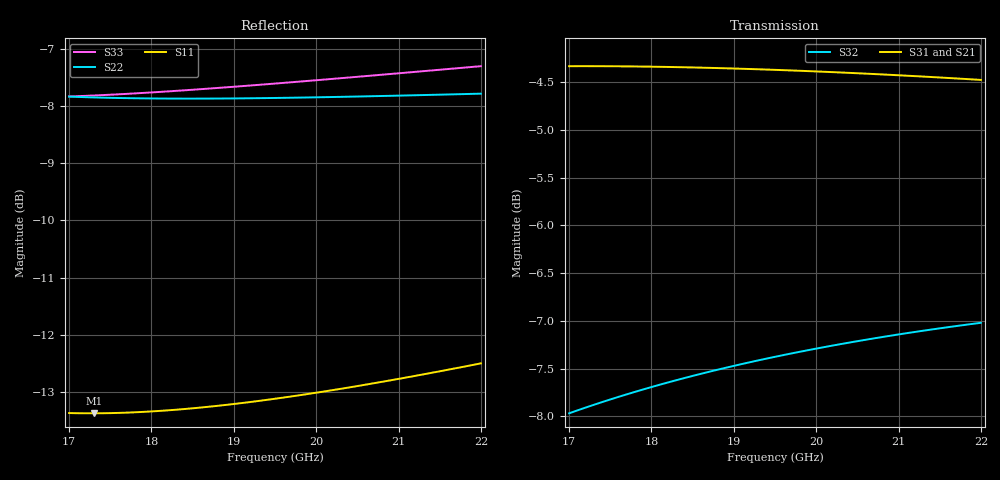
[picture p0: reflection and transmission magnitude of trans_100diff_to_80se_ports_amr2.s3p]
#  GHZ S DB R 50.0
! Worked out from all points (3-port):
!   51 points, 17 GHz to 22 GHz, reference 50 ohm
!   strongest paths, dB at 17 GHz, 18.2 GHz, 19.5 GHz, 20.8 GHz, 22 GHz:
!     S31: -4.3, -4.3, -4.4, -4.4, -4.5
!     S21: -4.5, -4.4, -4.4, -4.4, -4.4
!     S32: -8.0, -7.6, -7.4, -7.2, -7.0
!   lowest |S11| = -13.4 dB at 17.3 GHz (marker M1), VSWR 1.55, Z = 76.2 + j7.16 ohm
!   |S11| at or under -10 dB: start of sweep to end of sweep
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17  -13.36 15.9  -4.48 -171.7  -4.33 7.7
    -4.48 -171.7  -7.84 95.9  -7.97 73.8
    -4.33 7.7  -7.97 73.8  -7.84 92.8
17.3  -13.37 12.1  -4.46 -173.9  -4.33 5.6
      -4.46 -173.9  -7.85 93.0  -7.88 71.7
      -4.33 5.6  -7.88 71.7  -7.82 90.0
17.8  -13.35 6.0  -4.44 -177.5  -4.33 2.2
      -4.44 -177.5  -7.87 88.3  -7.74 68.3
      -4.33 2.2  -7.74 68.3  -7.78 85.5
18.4  -13.29 -0.9  -4.42 178.4  -4.34 -1.7
      -4.42 178.4  -7.87 83.1  -7.60 64.4
      -4.34 -1.7  -7.60 64.4  -7.73 80.5
18.9  -13.22 -6.3  -4.41 175.1  -4.35 -4.8
      -4.41 175.1  -7.87 79.1  -7.49 61.3
      -4.35 -4.8  -7.49 61.3  -7.68 76.6
19.5  -13.11 -12.3  -4.40 171.2  -4.37 -8.5
      -4.40 171.2  -7.86 74.6  -7.38 57.7
      -4.37 -8.5  -7.38 57.7  -7.61 72.2
20.1  -12.98 -18.0  -4.39 167.5  -4.39 -12.1
      -4.39 167.5  -7.85 70.4  -7.27 54.3
      -4.39 -12.1  -7.27 54.3  -7.54 68.2
20.7  -12.84 -23.4  -4.39 163.8  -4.41 -15.6
      -4.39 163.8  -7.83 66.5  -7.18 51.1
      -4.41 -15.6  -7.18 51.1  -7.47 64.4
21.3  -12.69 -28.4  -4.39 160.2  -4.44 -18.9
      -4.39 160.2  -7.81 62.8  -7.10 48.0
      -4.44 -18.9  -7.10 48.0  -7.39 60.9
22  -12.49 -33.9  -4.39 156.2  -4.47 -22.8
    -4.39 156.2  -7.79 58.9  -7.02 44.4
    -4.47 -22.8  -7.02 44.4  -7.31 57.1
